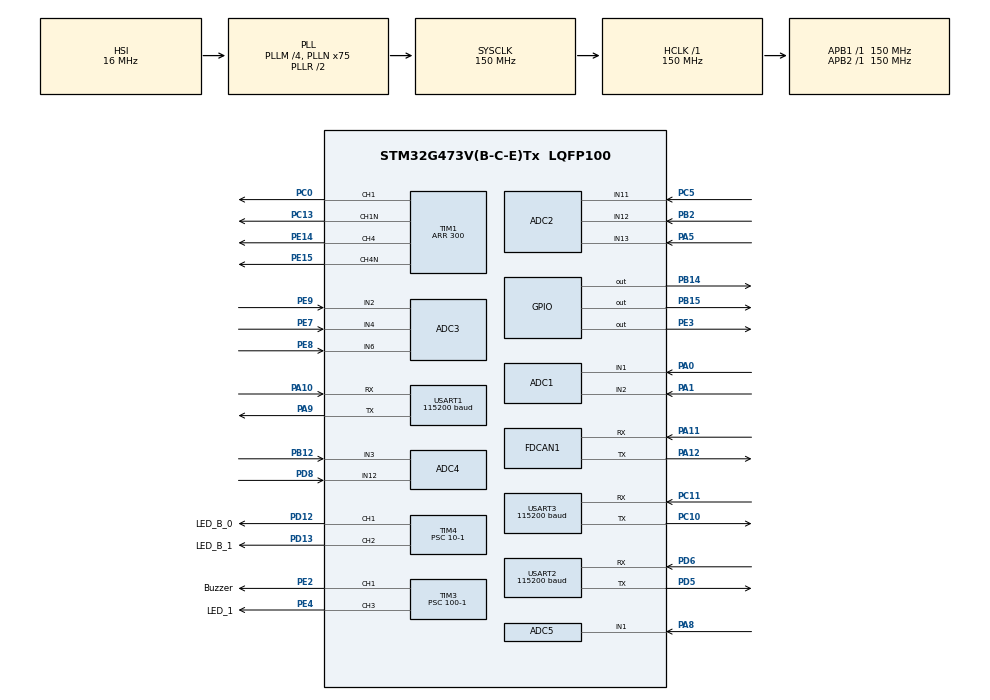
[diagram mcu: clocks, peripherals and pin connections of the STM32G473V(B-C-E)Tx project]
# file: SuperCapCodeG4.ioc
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ADC1.Channel-1\#ChannelRegularConversion=ADC_CHANNEL_1
ADC1.Channel-2\#ChannelRegularConversion=ADC_CHANNEL_2
ADC1.ClockPrescaler=ADC_CLOCK_ASYNC_DIV4
ADC1.ContinuousConvMode=ENABLE
ADC1.DMAContinuousRequests=ENABLE
ADC1.EOCSelection=ADC_EOC_SINGLE_CONV
ADC1.NbrOfConversion=2
ADC1.NbrOfConversionFlag=1
ADC1.OffsetNumber-1\#ChannelRegularConversion=ADC_OFFSET_NONE
ADC1.OffsetNumber-2\#ChannelRegularConversion=ADC_OFFSET_NONE
ADC1.OversamplingMode=DISABLE
ADC1.Rank-1\#ChannelRegularConversion=1
ADC1.Rank-2\#ChannelRegularConversion=2
ADC1.SamplingTime-1\#ChannelRegularConversion=ADC_SAMPLETIME_12CYCLES_5
ADC1.SamplingTime-2\#ChannelRegularConversion=ADC_SAMPLETIME_12CYCLES_5
ADC1.master=1
ADC2.Channel-0\#ChannelRegularConversion=ADC_CHANNEL_11
ADC2.Channel-1\#ChannelRegularConversion=ADC_CHANNEL_13
ADC2.Channel-2\#ChannelRegularConversion=ADC_CHANNEL_12
ADC2.ClockPrescaler=ADC_CLOCK_ASYNC_DIV4
ADC2.ContinuousConvMode=ENABLE
ADC2.DMAContinuousRequests=ENABLE
ADC2.NbrOfConversion=3
ADC2.NbrOfConversionFlag=1
ADC2.OffsetNumber-0\#ChannelRegularConversion=ADC_OFFSET_NONE
ADC2.OffsetNumber-1\#ChannelRegularConversion=ADC_OFFSET_NONE
ADC2.OffsetNumber-2\#ChannelRegularConversion=ADC_OFFSET_NONE
ADC2.Rank-0\#ChannelRegularConversion=1
ADC2.Rank-1\#ChannelRegularConversion=2
ADC2.Rank-2\#ChannelRegularConversion=3
ADC2.SamplingTime-0\#ChannelRegularConversion=ADC_SAMPLETIME_12CYCLES_5
ADC2.SamplingTime-1\#ChannelRegularConversion=ADC_SAMPLETIME_12CYCLES_5
ADC2.SamplingTime-2\#ChannelRegularConversion=ADC_SAMPLETIME_12CYCLES_5
ADC3.Channel-0\#ChannelRegularConversion=ADC_CHANNEL_4
ADC3.Channel-1\#ChannelRegularConversion=ADC_CHANNEL_6
ADC3.Channel-2\#ChannelRegularConversion=ADC_CHANNEL_2
ADC3.ClockPrescaler=ADC_CLOCK_ASYNC_DIV4
ADC3.ContinuousConvMode=ENABLE
ADC3.DMAContinuousRequests=ENABLE
ADC3.NbrOfConversion=3
ADC3.NbrOfConversionFlag=1
ADC3.OffsetNumber-0\#ChannelRegularConversion=ADC_OFFSET_NONE
ADC3.OffsetNumber-1\#ChannelRegularConversion=ADC_OFFSET_NONE
ADC3.OffsetNumber-2\#ChannelRegularConversion=ADC_OFFSET_NONE
ADC3.Rank-0\#ChannelRegularConversion=1
ADC3.Rank-1\#ChannelRegularConversion=2
ADC3.Rank-2\#ChannelRegularConversion=3
ADC3.SamplingTime-0\#ChannelRegularConversion=ADC_SAMPLETIME_6CYCLES_5
ADC3.SamplingTime-1\#ChannelRegularConversion=ADC_SAMPLETIME_6CYCLES_5
ADC3.SamplingTime-2\#ChannelRegularConversion=ADC_SAMPLETIME_6CYCLES_5
ADC3.master=1
ADC4.Channel-0\#ChannelRegularConversion=ADC_CHANNEL_3
ADC4.Channel-1\#ChannelRegularConversion=ADC_CHANNEL_12
ADC4.ClockPrescaler=ADC_CLOCK_ASYNC_DIV4
ADC4.ContinuousConvMode=ENABLE
ADC4.DMAContinuousRequests=ENABLE
ADC4.NbrOfConversion=2
ADC4.NbrOfConversionFlag=1
ADC4.OffsetNumber-0\#ChannelRegularConversion=ADC_OFFSET_NONE
ADC4.OffsetNumber-1\#ChannelRegularConversion=ADC_OFFSET_NONE
ADC4.Rank-0\#ChannelRegularConversion=1
ADC4.Rank-1\#ChannelRegularConversion=2
ADC4.SamplingTime-0\#ChannelRegularConversion=ADC_SAMPLETIME_12CYCLES_5
ADC4.SamplingTime-1\#ChannelRegularConversion=ADC_SAMPLETIME_12CYCLES_5
ADC5.Channel-1\#ChannelRegularConversion=ADC_CHANNEL_1
ADC5.ClockPrescaler=ADC_CLOCK_ASYNC_DIV4
ADC5.NbrOfConversionFlag=1
ADC5.OffsetNumber-1\#ChannelRegularConversion=ADC_OFFSET_NONE
ADC5.Rank-1\#ChannelRegularConversion=1
ADC5.SamplingTime-1\#ChannelRegularConversion=ADC_SAMPLETIME_12CYCLES_5
Dma.ADC1.1.Direction=DMA_PERIPH_TO_MEMORY
Dma.ADC1.1.EventEnable=DISABLE
Dma.ADC1.1.Instance=DMA2_Channel1
Dma.ADC1.1.MemDataAlignment=DMA_MDATAALIGN_HALFWORD
Dma.ADC1.1.MemInc=DMA_MINC_ENABLE
Dma.ADC1.1.Mode=DMA_CIRCULAR
Dma.ADC1.1.PeriphDataAlignment=DMA_PDATAALIGN_HALFWORD
Dma.ADC1.1.PeriphInc=DMA_PINC_DISABLE
Dma.ADC1.1.Polarity=HAL_DMAMUX_REQ_GEN_RISING
Dma.ADC1.1.Priority=DMA_PRIORITY_LOW
Dma.ADC1.1.RequestNumber=1
Dma.ADC1.1.SignalID=NONE
Dma.ADC1.1.SyncEnable=DISABLE
Dma.ADC1.1.SyncPolarity=HAL_DMAMUX_SYNC_NO_EVENT
Dma.ADC1.1.SyncRequestNumber=1
Dma.ADC1.1.SyncSignalID=NONE
Dma.ADC2.0.Direction=DMA_PERIPH_TO_MEMORY
Dma.ADC2.0.EventEnable=DISABLE
Dma.ADC2.0.Instance=DMA1_Channel1
Dma.ADC2.0.MemDataAlignment=DMA_MDATAALIGN_HALFWORD
Dma.ADC2.0.MemInc=DMA_MINC_ENABLE
Dma.ADC2.0.Mode=DMA_CIRCULAR
Dma.ADC2.0.PeriphDataAlignment=DMA_PDATAALIGN_HALFWORD
Dma.ADC2.0.PeriphInc=DMA_PINC_DISABLE
Dma.ADC2.0.Polarity=HAL_DMAMUX_REQ_GEN_RISING
Dma.ADC2.0.Priority=DMA_PRIORITY_LOW
Dma.ADC2.0.RequestNumber=1
Dma.ADC2.0.SignalID=NONE
Dma.ADC2.0.SyncEnable=DISABLE
Dma.ADC2.0.SyncPolarity=HAL_DMAMUX_SYNC_NO_EVENT
Dma.ADC2.0.SyncRequestNumber=1
Dma.ADC2.0.SyncSignalID=NONE
Dma.ADC3.2.Direction=DMA_PERIPH_TO_MEMORY
Dma.ADC3.2.EventEnable=DISABLE
Dma.ADC3.2.Instance=DMA1_Channel2
Dma.ADC3.2.MemDataAlignment=DMA_MDATAALIGN_HALFWORD
Dma.ADC3.2.MemInc=DMA_MINC_ENABLE
Dma.ADC3.2.Mode=DMA_CIRCULAR
Dma.ADC3.2.PeriphDataAlignment=DMA_PDATAALIGN_HALFWORD
Dma.ADC3.2.PeriphInc=DMA_PINC_DISABLE
Dma.ADC3.2.Polarity=HAL_DMAMUX_REQ_GEN_RISING
Dma.ADC3.2.Priority=DMA_PRIORITY_LOW
Dma.ADC3.2.RequestNumber=1
Dma.ADC3.2.SignalID=NONE
Dma.ADC3.2.SyncEnable=DISABLE
Dma.ADC3.2.SyncPolarity=HAL_DMAMUX_SYNC_NO_EVENT
Dma.ADC3.2.SyncRequestNumber=1
Dma.ADC3.2.SyncSignalID=NONE
Dma.ADC4.3.Direction=DMA_PERIPH_TO_MEMORY
Dma.ADC4.3.EventEnable=DISABLE
Dma.ADC4.3.Instance=DMA1_Channel3
Dma.ADC4.3.MemDataAlignment=DMA_MDATAALIGN_HALFWORD
Dma.ADC4.3.MemInc=DMA_MINC_ENABLE
Dma.ADC4.3.Mode=DMA_CIRCULAR
Dma.ADC4.3.PeriphDataAlignment=DMA_PDATAALIGN_HALFWORD
Dma.ADC4.3.PeriphInc=DMA_PINC_DISABLE
Dma.ADC4.3.Polarity=HAL_DMAMUX_REQ_GEN_RISING
Dma.ADC4.3.Priority=DMA_PRIORITY_LOW
Dma.ADC4.3.RequestNumber=1
Dma.ADC4.3.SignalID=NONE
Dma.ADC4.3.SyncEnable=DISABLE
Dma.ADC4.3.SyncPolarity=HAL_DMAMUX_SYNC_NO_EVENT
Dma.ADC4.3.SyncRequestNumber=1
Dma.ADC4.3.SyncSignalID=NONE
Dma.Request0=ADC2
Dma.Request1=ADC1
Dma.Request2=ADC3
Dma.Request3=ADC4
Dma.Request4=USART3_TX
Dma.USART3_TX.4.Direction=DMA_MEMORY_TO_PERIPH
Dma.USART3_TX.4.EventEnable=DISABLE
Dma.USART3_TX.4.Instance=DMA1_Channel4
Dma.USART3_TX.4.MemDataAlignment=DMA_MDATAALIGN_BYTE
Dma.USART3_TX.4.MemInc=DMA_MINC_ENABLE
Dma.USART3_TX.4.Mode=DMA_CIRCULAR
Dma.USART3_TX.4.PeriphDataAlignment=DMA_PDATAALIGN_BYTE
Dma.USART3_TX.4.PeriphInc=DMA_PINC_DISABLE
Dma.USART3_TX.4.Polarity=HAL_DMAMUX_REQ_GEN_RISING
Dma.USART3_TX.4.Priority=DMA_PRIORITY_LOW
Dma.USART3_TX.4.RequestNumber=1
Dma.USART3_TX.4.SignalID=NONE
Dma.USART3_TX.4.SyncEnable=DISABLE
Dma.USART3_TX.4.SyncPolarity=HAL_DMAMUX_SYNC_NO_EVENT
Dma.USART3_TX.4.SyncRequestNumber=1
Dma.USART3_TX.4.SyncSignalID=NONE
FDCAN1.CalculateBaudRateNominal=999999
FDCAN1.CalculateTimeBitNominal=1000
FDCAN1.CalculateTimeQuantumNominal=66.66666666666667
FDCAN1.ClockDivider=FDCAN_CLOCK_DIV1
FDCAN1.NominalPrescaler=10
FDCAN1.NominalSyncJumpWidth=1
FDCAN1.NominalTimeSeg1=7
FDCAN1.NominalTimeSeg2=7
Mcu.Family=STM32G4
Mcu.Name=STM32G473V(B-C-E)Tx
Mcu.Package=LQFP100
NVIC.FDCAN1_IT0_IRQn=true\:0\:0\:false\:false\:true\:true\:true\:true
NVIC.PriorityGroup=NVIC_PRIORITYGROUP_4
NVIC.TIM2_IRQn=true\:0\:0\:false\:false\:true\:true\:true\:true
NVIC.TIM5_IRQn=true\:0\:0\:false\:false\:true\:true\:true\:true
NVIC.TIM6_DAC_IRQn=true\:0\:0\:false\:false\:true\:true\:true\:true
PA0.Mode=IN1-Single-Ended
PA0.Signal=ADC1_IN1
PA1.Mode=IN2-Single-Ended
PA1.Signal=ADC1_IN2
PA10.Mode=Asynchronous
PA10.Signal=USART1_RX
PA11.Mode=FDCAN_Activate
PA11.Signal=FDCAN1_RX
PA12.Mode=FDCAN_Activate
PA12.Signal=FDCAN1_TX
PA13.Mode=Serial_Wire
PA13.Signal=SYS_JTMS-SWDIO
PA14.Mode=Serial_Wire
PA14.Signal=SYS_JTCK-SWCLK
PA5.Mode=IN13-Single-Ended
PA5.Signal=ADC2_IN13
PA8.Mode=IN1-Single-Ended
PA8.Signal=ADC5_IN1
PA9.Mode=Asynchronous
PA9.Signal=USART1_TX
PB12.Mode=IN3-Single-Ended
PB12.Signal=ADC4_IN3
PB14.Signal=GPIO_Output
PB15.Signal=GPIO_Output
PB2.Mode=IN12-Single-Ended
PB2.Signal=ADC2_IN12
PC0.Signal=S_TIM1_CH1
PC10.Mode=Asynchronous
PC10.Signal=USART3_TX
PC11.Mode=Asynchronous
PC11.Signal=USART3_RX
PC13.Mode=PWM Generation1 CH1 CH1N
PC13.Signal=TIM1_CH1N
PC5.Mode=IN11-Single-Ended
PC5.Signal=ADC2_IN11
PD12.GPIO_Label=LED_B_0
PD12.Signal=S_TIM4_CH1
PD13.GPIO_Label=LED_B_1
PD13.Signal=S_TIM4_CH2
PD5.Mode=Asynchronous
PD5.Signal=USART2_TX
PD6.Mode=Asynchronous
PD6.Signal=USART2_RX
PD8.Mode=IN12-Single-Ended
PD8.Signal=ADC4_IN12
PE14.Signal=S_TIM1_CH4
PE15.Mode=PWM Generation4 CH4 CH4N
PE15.Signal=TIM1_CH4N
PE2.GPIO_Label=Buzzer
PE2.Signal=S_TIM3_CH1
PE3.Signal=GPIO_Output
PE4.GPIO_Label=LED_1
PE4.Signal=S_TIM3_CH3
PE7.Mode=IN4-Single-Ended
PE7.Signal=ADC3_IN4
PE8.Mode=IN6-Single-Ended
PE8.Signal=ADC3_IN6
PE9.Mode=IN2-Single-Ended
PE9.Signal=ADC3_IN2
PF0-OSC_IN.Mode=HSE-External-Oscillator
PF0-OSC_IN.Signal=RCC_OSC_IN
PF1-OSC_OUT.Mode=HSE-External-Oscillator
PF1-OSC_OUT.Signal=RCC_OSC_OUT
ProjectManager.HeapSize=0x200
ProjectManager.StackSize=0x400
ProjectManager.TargetToolchain=MDK-ARM V5.32
RCC.ADC12Freq_Value=150000000
RCC.ADC345Freq_Value=150000000
RCC.AHBFreq_Value=150000000
RCC.APB1Freq_Value=150000000
RCC.APB1TimFreq_Value=150000000
RCC.APB2Freq_Value=150000000
RCC.APB2TimFreq_Value=150000000
RCC.CortexFreq_Value=150000000
RCC.EXTERNAL_CLOCK_VALUE=12288000
RCC.HCLKFreq_Value=150000000
RCC.HSE_VALUE=48000000
RCC.HSI48_VALUE=48000000
RCC.HSI_VALUE=16000000
RCC.LSE_VALUE=32768
RCC.PLLM=RCC_PLLM_DIV4
RCC.PLLN=75
RCC.SYSCLKFreq_VALUE=150000000
RCC.SYSCLKSource=RCC_SYSCLKSOURCE_PLLCLK
RCC.USBFreq_Value=150000000
RCC.VCOOutputFreq_Value=300000000
SH.S_TIM1_CH1.0=TIM1_CH1,PWM Generation1 CH1 CH1N
SH.S_TIM1_CH4.0=TIM1_CH4,PWM Generation4 CH4 CH4N
SH.S_TIM3_CH1.0=TIM3_CH1,PWM Generation1 CH1
SH.S_TIM3_CH3.0=TIM3_CH3,PWM Generation3 CH3
SH.S_TIM4_CH1.0=TIM4_CH1,PWM Generation1 CH1
SH.S_TIM4_CH2.0=TIM4_CH2,PWM Generation2 CH2
TIM1.Channel-PWM\ Generation1\ CH1\ CH1N=TIM_CHANNEL_1
TIM1.Channel-PWM\ Generation4\ CH4\ CH4N=TIM_CHANNEL_4
TIM1.DeadTime=20
TIM1.Dithering=Disable
TIM1.OCIdleState_4=TIM_OCIDLESTATE_RESET
TIM1.PeriodNoDither=300
TIM1.PulseNoDither_1=0
TIM1.PulseNoDither_4=300
TIM2.AutoReloadPreload=TIM_AUTORELOAD_PRELOAD_ENABLE
TIM2.Dithering=Disable
TIM2.PeriodNoDither=500
TIM2.Prescaler=0
TIM3.Channel-PWM\ Generation1\ CH1=TIM_CHANNEL_1
TIM3.Channel-PWM\ Generation3\ CH3=TIM_CHANNEL_3
TIM3.PeriodNoDither=48000
TIM3.Prescaler=100-1
TIM3.PulseNoDither_3=90
TIM4.Channel-PWM\ Generation1\ CH1=TIM_CHANNEL_1
TIM4.Channel-PWM\ Generation2\ CH2=TIM_CHANNEL_2
TIM4.PeriodNoDither=48000
TIM4.Prescaler=10-1
TIM4.PulseNoDither_1=90
TIM4.PulseNoDither_2=90
TIM5.AutoReloadPreload=TIM_AUTORELOAD_PRELOAD_ENABLE
TIM5.PeriodNoDither=1500
TIM6.AutoReloadPreload=TIM_AUTORELOAD_PRELOAD_ENABLE
TIM6.PeriodNoDither=1000-1
TIM6.Prescaler=15000-1
USART1.BaudRate=115200
USART1.VirtualMode-Asynchronous=VM_ASYNC
USART2.BaudRate=115200
USART2.VirtualMode-Asynchronous=VM_ASYNC
USART3.BaudRate=115200
USART3.VirtualMode-Asynchronous=VM_ASYNC
VP_SYS_VS_DBSignals.Mode=DisableDeadBatterySignals
VP_TIM2_VS_ClockSourceINT.Mode=Internal
VP_TIM5_VS_ClockSourceINT.Mode=Internal
VP_TIM6_VS_ClockSourceINT.Mode=Enable_Timer
board=custom

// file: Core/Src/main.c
/* USER CODE BEGIN Header */
/**
  ******************************************************************************
  * @file           : main.c
  * @brief          : Main program body
  ******************************************************************************
  * @attention
  *
  * Copyright (c) 2024 STMicroelectronics.
  * All rights reserved.
  *
  * This software is licensed under terms that can be found in the LICENSE file
  * in the root directory of this software component.
  * If no LICENSE file comes with this software, it is provided AS-IS.
  *
  ******************************************************************************
  */
/* USER CODE END Header */
#include "main.h"
#include "adc.h"
#include "dma.h"
#include "fdcan.h"
#include "tim.h"
#include "usart.h"
#include "gpio.h"

/* USER CODE BEGIN Includes */
#include "supercap.h"
#include <stdio.h>
#include "Serial.h"
#include "Kalman_Filter.h"

#define MAX_CAP_VOLTAGE 2820 //24V in 12 bits
#define MAX_CURRENT 2202 //1A in 12 bits
#define MIN_CURRENT 2047 //0A in 12 bits
#define MAX_DUTY 278
#define MIN_DUTY 22
#define V_1V65 2047 //1.65V in 12 bits

/* USER CODE END Includes */

/* USER CODE BEGIN PV */
  uint16_t supercap_ADC1[2];
  uint16_t supercap_ADC2[3];
  uint16_t supercap_ADC3[3];
	uint16_t supercap_ADC4[2];

	uint16_t supercap_max_power_current;
	uint16_t supercap_max_power_STM32;

  _ADC_Sample_t C_left = {0};
  _ADC_Sample_t C_sys = {0};
  _ADC_Sample_t C_right = {0};
  _ADC_Sample_t V_sys_op = {0};
  _ADC_Sample_t V_cap_op = {0};
  _ADC_Sample_t V_cap = {0}; //V_right
  _ADC_Sample_t V_bat = {0}; //V_left
  _ADC_Sample_t V_sys = {0};
	_ADC_Sample_t V_1V6 = {0};
	_ADC_Sample_t ADC4_12 = {0};

  _Supercap_PID_Controller_t PID_45W_loop;
  _Supercap_PID_Controller_t PID_n7A_loop;
  _Supercap_PID_Controller_t PID_7A_loop;
	_Supercap_PID_Controller_t PID_voltage_loop;

	uint8_t FDCAN_Notification_flag;
	uint8_t FDCAN_R_data;
	uint8_t TxData[1];

  enum _CAP_STATE_T CAP_STATE;

	float temp2;
	float supercap_target_voltage;
	uint16_t temp_counter;
	uint32_t TIM3_AUTORELOAD_over100;

	uint32_t debug_counter;

/* USER CODE END PV */

void SystemClock_Config(void);
/* USER CODE BEGIN PFP */
//void HAL_ADC_ConvCpltCallback(ADC_HandleTypeDef* hadc1)
//{
//  HAL_GPIO_TogglePin(GPIOB, GPIO_PIN_14);
//}
/* USER CODE END PFP */

/* USER CODE BEGIN 0 */

typedef struct {
    float data[8];
    char tail[4];
} DataPacket;

DataPacket data_packet = {
    .data = {1.1f, 2.2f, 3.3f, 4.4f, 5.5f, 6.6f, 7.7f, 8.8f},
    .tail = {0x00, 0x00, 0x80, 0x7f}
};

/* USER CODE END 0 */

int main(void)
{
  /* USER CODE BEGIN 1 */

  char tail[4] = {0x00, 0x00, 0x80, 0x7f};

  C_left.sample = &supercap_ADC1[0];
  C_sys.sample = &supercap_ADC1[1];
  C_right.sample = &supercap_ADC3[2];
  V_sys_op.sample = &supercap_ADC2[0];
  V_cap_op.sample = &supercap_ADC2[1];
  V_cap.sample = &supercap_ADC2[2];
  V_bat.sample = &supercap_ADC3[0];
  V_sys.sample = &supercap_ADC3[1];
	V_1V6.sample = &supercap_ADC4[0];
	ADC4_12.sample = &supercap_ADC4[1];

	float temp;
  float data_array[7];
  /* USER CODE END 1 */

  /* MCU Configuration--------------------------------------------------------*/

  /* Reset of all peripherals, Initializes the Flash interface and the Systick. */
  HAL_Init();

  /* Configure the system clock */
  SystemClock_Config();

		/* Initialize all configured peripherals */
		MX_GPIO_Init();
		MX_DMA_Init();
		MX_ADC1_Init();
		MX_ADC2_Init();
		MX_TIM1_Init();
		MX_USART1_UART_Init();
		MX_USART2_UART_Init();
		MX_USART3_UART_Init();
		MX_TIM3_Init();
		MX_TIM4_Init();
		MX_ADC4_Init();
		MX_FDCAN1_Init();
		MX_ADC5_Init();
		MX_ADC3_Init();
		MX_TIM2_Init();
		MX_TIM5_Init();
		MX_TIM6_Init();
		/* USER CODE BEGIN 2 */
		supercap_max_power_STM32 = 45;
		supercap_max_power_current = CURRENT_LIMIT;

		// Configure FDCAN1 TX header
		TxHeader.Identifier =	 0x188;
		TxHeader.IdType = FDCAN_STANDARD_ID;
		TxHeader.TxFrameType = FDCAN_DATA_FRAME;
		TxHeader.DataLength = FDCAN_DLC_BYTES_1;
		TxHeader.ErrorStateIndicator = FDCAN_ESI_ACTIVE;
		TxHeader.BitRateSwitch = FDCAN_BRS_OFF;
		TxHeader.FDFormat = FDCAN_CLASSIC_CAN;
		TxHeader.TxEventFifoControl = FDCAN_NO_TX_EVENTS;
		TxHeader.MessageMarker = 0;

		FDCAN1_RXFilter.IdType = FDCAN_STANDARD_ID;
		FDCAN1_RXFilter.FilterIndex = 0;
		//FDCAN1_RXFilter.FilterType = FDCAN_FILTER_RANGE_NO_EIDM;
		FDCAN1_RXFilter.FilterType = FDCAN_FILTER_MASK;
		FDCAN1_RXFilter.FilterConfig = FDCAN_FILTER_TO_RXFIFO0;
		//FDCAN1_RXFilter.FilterType = FDCAN_FILTER_DUAL;
		FDCAN1_RXFilter.FilterID1 = 0x166;
		FDCAN1_RXFilter.FilterID2 = 0x7FF;

		HAL_FDCAN_ConfigFilter(&hfdcan1, &FDCAN1_RXFilter);
		//HAL_FDCAN_ConfigGlobalFilter(&hfdcan1, FDCAN_REJECT, FDCAN_REJECT, ENABLE, ENABLE);
		HAL_FDCAN_Start(&hfdcan1);

		HAL_FDCAN_ActivateNotification(&hfdcan1, FDCAN_IT_RX_FIFO0_NEW_MESSAGE,0);

	HAL_ADCEx_Calibration_Start(&hadc1, ADC_SINGLE_ENDED);
	HAL_ADCEx_Calibration_Start(&hadc2, ADC_SINGLE_ENDED);
	HAL_ADCEx_Calibration_Start(&hadc3, ADC_SINGLE_ENDED);
	HAL_ADCEx_Calibration_Start(&hadc4, ADC_SINGLE_ENDED);
  HAL_ADC_Start_DMA(&hadc1, (uint32_t*)supercap_ADC1, 2);
  HAL_ADC_Start_DMA(&hadc2, (uint32_t*)supercap_ADC2, 3);
  HAL_ADC_Start_DMA(&hadc3, (uint32_t*)supercap_ADC3, 3);
	HAL_ADC_Start_DMA(&hadc4, (uint32_t*)supercap_ADC4, 2);
  HAL_UART_Transmit_DMA(&huart3, (uint8_t*)&data_packet, 36);
  CAP_STATE = INIT;
	HAL_TIM_Base_Start(&htim1);
	HAL_TIM_Base_Start_IT(&htim6); //heart beat
  Supercap_AUX_Init();

  int16_t notes1[] = {11, 11, 6, 5, 5, 1, 2, 3, 3, 2, 1, -6};
  for(int i = 0; i < 2; i++){
    Supercap_AUX_Buzzer(50, notes1[i]);
    HAL_Delay(50);
    Supercap_AUX_Buzzer(0, 0);
    HAL_Delay(5);
  }
  Supercap_AUX_Buzzer(0, 0);

	Supercap_Function_Init(&C_sys);
	Supercap_Function_Init(&C_right);
	Supercap_Function_Init(&ADC4_12);
	Supercap_Function_Init(&V_bat);
	Supercap_Function_Init(&V_cap);

  Supercap_PID_Init(&PID_45W_loop, 0.005f, 0.0005f, 0.0f, MAX_CAP_VOLTAGE, 0, 2500);
  Supercap_PID_Init(&PID_n7A_loop, 0.2f, 0.00002f, 0.01f, MAX_CAP_VOLTAGE, 0, 400);
  Supercap_PID_Init(&PID_7A_loop, 0.3f, 0.00005f, 0.01f, MAX_CAP_VOLTAGE, 0, 600);
	Supercap_PID_Init(&PID_voltage_loop, 0.00005f, 0.0001f, 0.08f, MAX_DUTY, 65, 50);

  uint16_t notes2[] = {6, 5, 5, 1, 2, 3, 3, 2, 1, -6};
  for(int i = 0; i < 10; i++){
    Supercap_AUX_Buzzer(50, notes2[i]);
    HAL_Delay(50);
    Supercap_AUX_Buzzer(0, 0);
    HAL_Delay(5);
  }
  Supercap_AUX_Buzzer(0, 0);

  HAL_TIM_Base_Start_IT(&htim2);
	HAL_Delay(250);

  uint16_t notes3[] = {1, 2, 3, 5, 5, 6, 5, 3, 3, 2, 1, 2, 5};
  for(int i = 0; i < 13; i++){
    Supercap_AUX_Buzzer(50, notes3[i]);
    HAL_Delay(50);
    Supercap_AUX_Buzzer(0, 0);
    HAL_Delay(5);
  }
  Supercap_AUX_Buzzer(0, 0);
	HAL_TIM_Base_Start_IT(&htim5);

  /* USER CODE END 2 */

  /* Infinite loop */
  while (1)
  {

    /* USER CODE BEGIN 3 */
//    data_packet.data[0] = Supercap_ADC_to_Current_Funtion(C_right.real_value_12bits, 2047);
//    data_packet.data[1] = Supercap_ADC_to_Voltage_Funtion(V_cap.real_value_12bits);
//    data_packet.data[2] = Supercap_ADC_to_Current_Funtion(C_sys.real_value_12bits, 2047);
//		//data_packet.data[2] = supercap_max_power_STM32;
//		//data_packet.data[2] = Supercap_ADC_to_Current_Funtion(supercap_max_power_current, 2047);
//    data_packet.data[3] = Supercap_ADC_to_Voltage_Funtion(PID_7A_loop.output);
//    data_packet.data[4] = Supercap_ADC_to_Voltage_Funtion(PID_45W_loop.output);
//    data_packet.data[5] = Supercap_ADC_to_Voltage_Funtion(PID_n7A_loop.output);
//		data_packet.data[6] = Supercap_ADC_to_Current_Funtion(supercap_max_power_current, 2047);
//		data_packet.data[7] = (float)supercap_target_voltage*0.1f*0.03f;
		//bug report: I put data[5], So, the tail be removed

//    data_packet.data[0] = Supercap_ADC_to_Current_Funtion(C_right.real_value_12bits, 2047) * 24;
//    data_packet.data[1] = Supercap_ADC_to_Voltage_Funtion(V_cap.real_value_12bits);
//    data_packet.data[2] = Supercap_ADC_to_Current_Funtion(C_sys.real_value_12bits, 2047) * 24;
//		//data_packet.data[2] = supercap_max_power_STM32;
//		//data_packet.data[2] = Supercap_ADC_to_Current_Funtion(supercap_max_power_current, 2047);
//    data_packet.data[3] = Supercap_ADC_to_Current_Funtion(supercap_max_power_current, 2047) * 24;
//    data_packet.data[4] = (float)supercap_max_power_STM32;
//    data_packet.data[5] = (float)Supercap_ADC_to_Voltage_Funtion(PID_45W_loop.output);
//		data_packet.data[6] = (float)temp2;
//		//data_packet.data[7] = (float)supercap_target_voltage*0.1f*0.03f;
//		data_packet.data[7] = Supercap_ADC_to_Voltage_Funtion(PID_n7A_loop.output);

    data_packet.data[0] = Supercap_ADC_to_Current_Funtion(C_right.real_value_12bits, 2047);
    data_packet.data[1] = Supercap_ADC_to_Voltage_Funtion(V_cap.real_value_12bits);
    data_packet.data[2] = Supercap_ADC_to_Current_Funtion(C_sys.real_value_12bits, 2047);
    data_packet.data[3] = Supercap_ADC_to_Voltage_Funtion(PID_7A_loop.output);
    data_packet.data[4] = Supercap_ADC_to_Voltage_Funtion(PID_45W_loop.output);
    data_packet.data[5] = Supercap_ADC_to_Voltage_Funtion(PID_n7A_loop.output);
		data_packet.data[6] = Supercap_ADC_to_Current_Funtion(supercap_max_power_current, 2047);
		data_packet.data[7] = (float)supercap_target_voltage*0.1f*0.03f;
		//bug report: I put data[5], So, the tail be removed

  }
  /* USER CODE END 3 */
}

void SystemClock_Config(void)
{
  RCC_OscInitTypeDef RCC_OscInitStruct = {0};
  RCC_ClkInitTypeDef RCC_ClkInitStruct = {0};

  /** Configure the main internal regulator output voltage
  */
  HAL_PWREx_ControlVoltageScaling(PWR_REGULATOR_VOLTAGE_SCALE1);

  /** Initializes the RCC Oscillators according to the specified parameters
  * in the RCC_OscInitTypeDef structure.
  */
  RCC_OscInitStruct.OscillatorType = RCC_OSCILLATORTYPE_HSI;
  RCC_OscInitStruct.HSIState = RCC_HSI_ON;
  RCC_OscInitStruct.HSICalibrationValue = RCC_HSICALIBRATION_DEFAULT;
  RCC_OscInitStruct.PLL.PLLState = RCC_PLL_ON;
  RCC_OscInitStruct.PLL.PLLSource = RCC_PLLSOURCE_HSI;
  RCC_OscInitStruct.PLL.PLLM = RCC_PLLM_DIV4;
  RCC_OscInitStruct.PLL.PLLN = 75;
  RCC_OscInitStruct.PLL.PLLP = RCC_PLLP_DIV2;
  RCC_OscInitStruct.PLL.PLLQ = RCC_PLLQ_DIV2;
  RCC_OscInitStruct.PLL.PLLR = RCC_PLLR_DIV2;
  if (HAL_RCC_OscConfig(&RCC_OscInitStruct) != HAL_OK)
  {
    Error_Handler();
  }

  /** Initializes the CPU, AHB and APB buses clocks
  */
  RCC_ClkInitStruct.ClockType = RCC_CLOCKTYPE_HCLK|RCC_CLOCKTYPE_SYSCLK
                              |RCC_CLOCKTYPE_PCLK1|RCC_CLOCKTYPE_PCLK2;
  RCC_ClkInitStruct.SYSCLKSource = RCC_SYSCLKSOURCE_PLLCLK;
  RCC_ClkInitStruct.AHBCLKDivider = RCC_SYSCLK_DIV1;
  RCC_ClkInitStruct.APB1CLKDivider = RCC_HCLK_DIV1;
  RCC_ClkInitStruct.APB2CLKDivider = RCC_HCLK_DIV1;

  if (HAL_RCC_ClockConfig(&RCC_ClkInitStruct, FLASH_LATENCY_4) != HAL_OK)
  {
    Error_Handler();
  }
}

/* USER CODE BEGIN 4 */
void HAL_FDCAN_RxFifo0Callback(FDCAN_HandleTypeDef *hfdcan, uint32_t RxFifo0ITs){
	static FDCAN_RxHeaderTypeDef rx_header;
  uint8_t can_rx_buff[8];
	HAL_FDCAN_GetRxMessage(hfdcan, FDCAN_RX_FIFO0, &rx_header, can_rx_buff);
	if(*(&rx_header.Identifier) == 0x166){
    //HAL_FDCAN_GetRxMessage(hfdcan, FDCAN_RX_FIFO0, &rx_header, can_rx_buff);
		if (can_rx_buff[0] >= 30 && can_rx_buff[0]<= 120 && supercap_max_power_STM32 != can_rx_buff[0]){ //Normal
			Update_Current(supercap_max_power_STM32, can_rx_buff[0]);
			supercap_max_power_STM32 = can_rx_buff[0];
		}
		if (can_rx_buff[0] < 30 && can_rx_buff[0] > 120){ //Out of range
			//supercap_max_power_current = 45;
		}
	}
}
/* USER CODE END 4 */

void Error_Handler(void)
{
  __disable_irq();
  while (1)
  {
  }
}
